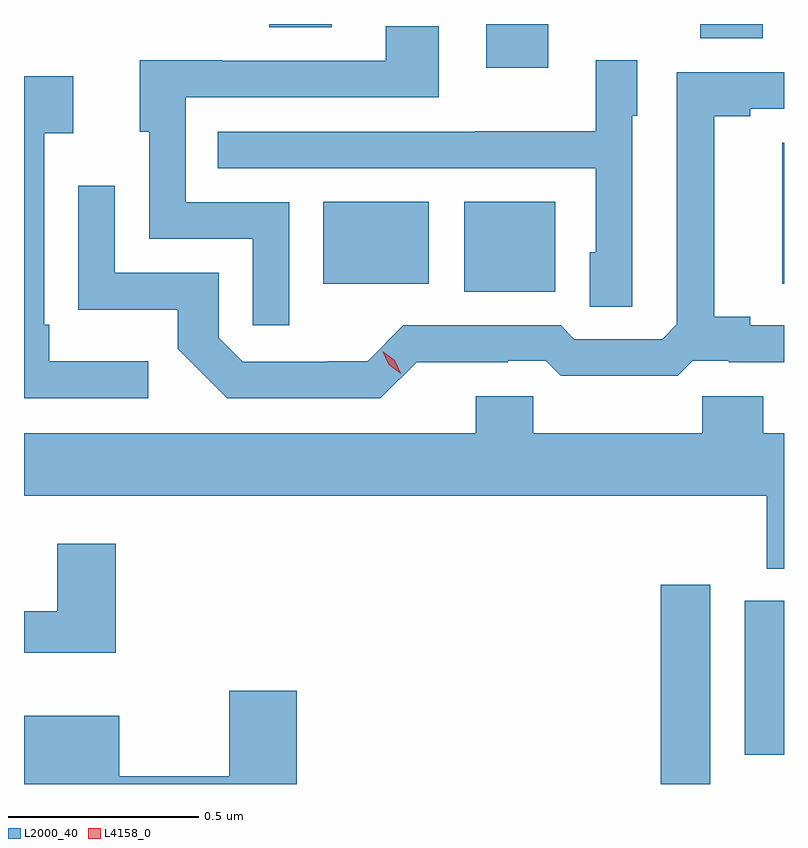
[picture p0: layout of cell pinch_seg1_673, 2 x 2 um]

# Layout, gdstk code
import gdstk
lib = gdstk.Library(unit=1e-6, precision=1e-09)
def R(c, l, rs):  # rectangles x0, y0, x1, y1
    for r in rs: c.add(gdstk.rectangle(r[:2], r[2:], *l))
def P(c, l, *ps):  # polygons
    for p in ps: c.add(gdstk.Polygon(p, *l))
L2000_40 = (2000, 40)
L4158_0 = (4158, 0)

pinch_seg1_673 = lib.new_cell('pinch_seg1_673')
R(pinch_seg1_673, L2000_40, [(828.254,580.277,828.385,580.801), (828.476,580.354,828.579,580.759), (827.738,581.573,827.977,581.809), (827.366,581.594,827.644,581.809), (828.575,581.594,828.579,581.965), (827.795,582.162,827.959,582.277), (828.359,582.24,828.523,582.277), (827.225,582.269,827.389,582.277)])
P(pinch_seg1_673, L2000_40, [(827.277,581.808),(827.004,581.808),(827.004,582.084),(827.671,582.084),(827.671,582.271),(827.531,582.271),(827.531,582.18),(827.101,582.18),(827.101,582.182),(826.883,582.182),(826.883,581.994),(826.908,581.994),(826.908,581.712),(827.181,581.712),(827.181,581.484),(827.277,581.484)],
  [(828.18,582.036),(828.193,582.036),(828.193,582.181),(828.084,582.181),(828.084,581.995),(827.767,581.995),(827.767,581.994),(827.089,581.994),(827.089,581.898),(828.084,581.898),(828.084,581.676),(828.068,581.676),(828.068,581.533),(828.18,581.533)],
  [(827.612,581.387),(827.852,581.387),(827.852,581.391),(827.952,581.391),(827.992,581.352),(828.299,581.352),(828.339,581.391),(828.433,581.391),(828.433,581.387),(828.579,581.387),(828.579,581.484),(828.49,581.484),(828.49,581.507),(828.395,581.507),(828.395,582.034),(828.49,582.034),(828.49,582.054),(828.579,582.054),(828.579,582.15),(828.297,582.15),(828.297,581.487),(828.258,581.448),(828.027,581.448),(827.991,581.484),(827.577,581.484),(827.483,581.39),(827.378,581.39),(827.378,581.388),(827.154,581.388),(827.091,581.451),(827.091,581.622),(826.818,581.622),(826.818,581.851),(826.722,581.851),(826.722,581.525),(826.984,581.525),(826.984,581.423),(827.114,581.292),(827.517,581.292)],
  [(826.906,581.389),(826.645,581.389),(826.645,581.485),(826.632,581.485),(826.632,581.99),(826.708,581.99),(826.708,582.139),(826.579,582.139),(826.579,581.292),(826.906,581.292)],
  [(828.533,580.844),(828.579,580.844),(828.579,581.2),(828.524,581.2),(828.524,581.298),(828.364,581.298),(828.364,581.2),(827.919,581.2),(827.919,581.298),(827.768,581.298),(827.768,581.2),(826.579,581.2),(826.579,581.036),(828.533,581.036)],
  [(826.82,580.909),(826.667,580.909),(826.667,580.732),(826.579,580.732),(826.579,580.622),(826.82,580.622)],
  [(827.297,580.522),(827.119,580.522),(827.119,580.298),(826.83,580.298),(826.83,580.456),(826.579,580.456),(826.579,580.277),(827.297,580.277)])
P(pinch_seg1_673, L4158_0, [(827.569,581.358),(827.539,581.38),(827.523,581.414),(827.523,581.414),(827.524,581.414),(827.554,581.392),(827.57,581.358),(827.57,581.358)])

lib.write_gds('pinch_seg1_673.gds')
